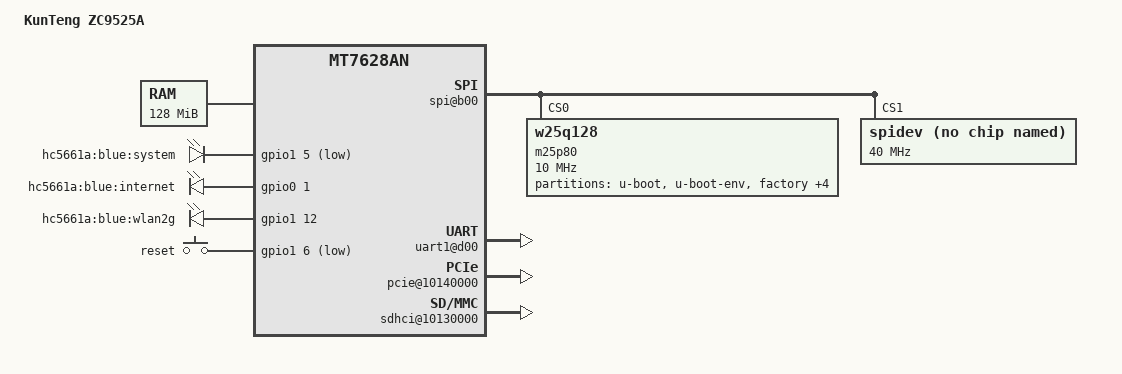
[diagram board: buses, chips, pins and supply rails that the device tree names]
/dts-v1/;

/include/ "mt7628an.dtsi"

/ {
	compatible = "ZC9525A", "mediatek,mt7628an-soc";
	model = "KunTeng ZC9525A";

	chosen {
		bootargs = "console=ttyS0,115200";
	};

	memory@0 {
		device_type = "memory";
		reg = <0x0 0x8000000>;
	};

	pinctrl {
		state_default: pinctrl0 {
			gpio {
				ralink,group = "gpio";
				ralink,function = "gpio";
			};
		};
	};

	palmbus@10000000 {
		spi@b00 {
			status = "okay";

			pinctrl-names = "default";
			pinctrl-0 = <&spi_pins>, <&spi_cs1_pins>;

			m25p80@0 {
				#address-cells = <1>;
				#size-cells = <1>;
				compatible = "w25q128";
				reg = <0 0>;
				linux,modalias = "m25p80", "w25q128";
				spi-max-frequency = <10000000>;
				m25p,chunked-io = <31>;

				partition@0 {
					label = "u-boot";
					reg = <0x0 0x30000>;
		//			read-only;
				};

				partition@30000 {
					label = "u-boot-env";
					reg = <0x30000 0x10000>;
				};

				factory: partition@40000 {
					label = "factory";
					reg = <0x40000 0x10000>;
					//read-only;
				};

				partition@50000 {
					label = "firmware";
					reg = <0x50000 0xf80000>;
				};
				
				partition@fd0000 {
					label = "hwf_config";
					reg = <0xfd0000 0x10000>;
				};

				bdinfo: partition@fe0000 {
					label = "bdinfo";
					reg = <0xfe0000 0x10000>;
				};

				partition@ff0000 {
					label = "backup";
					reg = <0xff0000 0x10000>;
				};
			};

			spidev@1 {
				#address-cells = <1>;
				#size-cells = <1>;
				compatible = "spidev";
				reg = <1 0>;
				spi-max-frequency = <40000000>;
			};
		};

		uart1@d00 {
			status = "okay";
		};

	};

	ethernet@10100000 {
		mtd-mac-address = <&factory 0x4>;
		ralink,port-map = "llllw";
	};
	
	pcie@10140000 {
		status = "okay";
	};

	sdhci@10130000 {
		status = "okay";
//      mediatek,cd-low;
//		mediatek,cd-high;
//		mediatek,cd-poll;
	};

	gpio-leds {
		compatible = "gpio-leds";

		system {
			label = "hc5661a:blue:system";
			gpios = <&gpio1 5 1>;
		};
		
		internet {
			label = "hc5661a:blue:internet";
			gpios = <&gpio0 1 0>;
		};
		
		wlan2g {
			label = "hc5661a:blue:wlan2g";
			gpios = <&gpio1 12 0>;
		};
	};

	gpio-keys-polled {
		compatible = "gpio-keys-polled";
		#address-cells = <1>;
		#size-cells = <0>;
		poll-interval = <20>;
	
		reset {
			label = "reset";
			gpios = <&gpio1 6 1>;
			linux,code = <0x198>;
		};
	};
};
